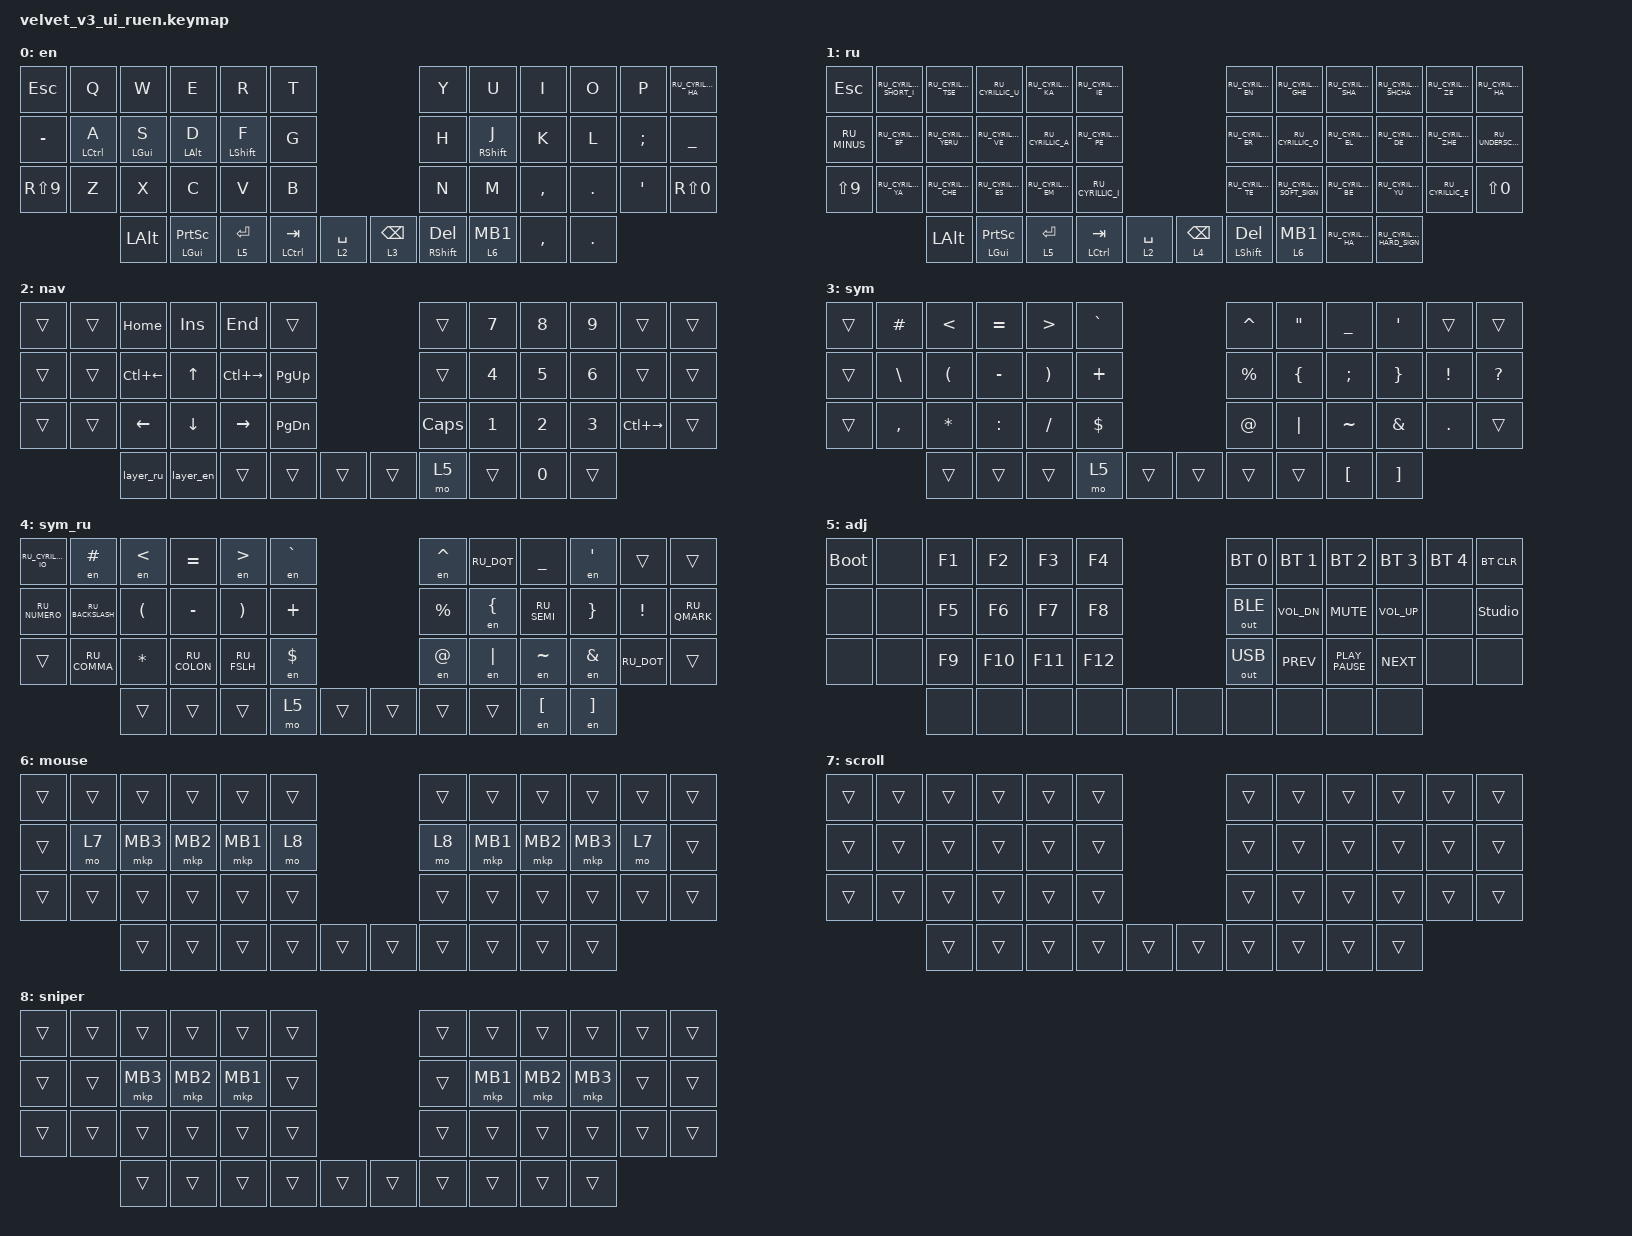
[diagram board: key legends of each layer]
#include "keys_ru.h"
#include <dt-bindings/zmk/input_transform.h>
#include <input/processors.dtsi>
#include <zephyr/dt-bindings/input/input-event-codes.h>
#include <behaviors.dtsi>
#include <dt-bindings/zmk/bt.h>
#include <dt-bindings/zmk/keys.h>
#include <dt-bindings/zmk/outputs.h>
#include <dt-bindings/zmk/pointing.h>

/ {
    behaviors {
        cap_sen: cap_sen {
            compatible = "zmk,behavior-hold-tap";
            label = "CAP_SEN";
            bindings = <&mo>, <&mkp>;

            #binding-cells = <2>;
            tapping-term-ms = <150>;
            hold-while-undecided;
        };
    };

    combos {
        compatible = "zmk,combos";

        cmben {
            bindings = <&layer_en>;
            key-positions = <3 4>;
            layers = <1>;
        };

        cmbru {
            bindings = <&layer_ru>;
            key-positions = <3 4>;
            layers = <0>;
        };
    };

    macros {
        to_ru: to_ru {
            compatible = "zmk,behavior-macro";
            #binding-cells = <0>;
            bindings = <&kp LG(SPACE)>;
            label = "TO_RU";
        };

        to_en: to_en {
            compatible = "zmk,behavior-macro";
            #binding-cells = <0>;
            bindings = <&kp LG(SPACE)>;
            label = "TO_EN";
        };

        layer_en: layer_en {
            compatible = "zmk,behavior-macro";
            #binding-cells = <0>;
            bindings = <&to 0 &to_en>;
            label = "LAYER_EN";
        };

        layer_ru: layer_ru {
            compatible = "zmk,behavior-macro";
            #binding-cells = <0>;
            bindings = <&to 1 &to_ru>;
            label = "LAYER_RU";
        };

        en: en {
            compatible = "zmk,behavior-macro-one-param";
            #binding-cells = <1>;
            bindings =
                <&to_en &macro_param_1to1 &kp MACRO_PLACEHOLDER>,
                <&macro_wait_time 10>,
                <&to_ru>,
                <&macro_wait_time 10>;

            label = "EN";
        };
    };

    keymap {
        compatible = "zmk,keymap";

        en {
            bindings = <
&kp ESC           &kp Q        &kp W           &kp E                     &kp R             &kp T                                          &kp Y                &kp U              &kp I      &kp O    &kp P     &kp RU_CYRILLIC_HA
&kp MINUS         &mt LCTRL A  &mt LEFT_GUI S  &mt LEFT_ALT D            &mt LEFT_SHIFT F  &kp G                                          &kp H                &mt RIGHT_SHIFT J  &kp K      &kp L    &kp SEMI  &kp UNDER
&kp RS(NUMBER_9)  &kp Z        &kp X           &kp C                     &kp V             &kp B                                          &kp N                &kp M              &kp COMMA  &kp DOT  &kp SQT   &kp RS(N0)
                               &kp LALT        &mt LEFT_GUI PRINTSCREEN  &lt 5 ENTER       &mt LCTRL TAB  &lt 2 SPACE    &lt 3 BACKSPACE  &mt RIGHT_SHIFT DEL  &cap_sen 6 MB1     &kp COMMA  &kp DOT
            >;

            display-name = "en";
        };

        ru {
            display-name = "ru";
            bindings = <
&kp ESC       &kp RU_CYRILLIC_SHORT_I  &kp RU_CYRILLIC_TSE   &kp RU_CYRILLIC_U     &kp RU_CYRILLIC_KA  &kp RU_CYRILLIC_IE                                  &kp RU_CYRILLIC_EN     &kp RU_CYRILLIC_GHE        &kp RU_CYRILLIC_SHA  &kp RU_CYRILLIC_SHCHA      &kp RU_CYRILLIC_ZE   &kp RU_CYRILLIC_HA
&kp RU_MINUS  &kp RU_CYRILLIC_EF       &kp RU_CYRILLIC_YERU  &kp RU_CYRILLIC_VE    &kp RU_CYRILLIC_A   &kp RU_CYRILLIC_PE                                  &kp RU_CYRILLIC_ER     &kp RU_CYRILLIC_O          &kp RU_CYRILLIC_EL   &kp RU_CYRILLIC_DE         &kp RU_CYRILLIC_ZHE  &kp RU_UNDERSCORE
&kp LS(N9)    &kp RU_CYRILLIC_YA       &kp RU_CYRILLIC_CHE   &kp RU_CYRILLIC_ES    &kp RU_CYRILLIC_EM  &kp RU_CYRILLIC_I                                   &kp RU_CYRILLIC_TE     &kp RU_CYRILLIC_SOFT_SIGN  &kp RU_CYRILLIC_BE   &kp RU_CYRILLIC_YU         &kp RU_CYRILLIC_E    &kp LS(N0)
                                       &kp LALT              &mt LGUI PRINTSCREEN  &lt 5 ENTER         &mt LCTRL TAB       &lt 2 SPACE    &lt 4 BACKSPACE  &mt LEFT_SHIFT DELETE  &cap_sen 6 MB1             &kp RU_CYRILLIC_HA   &kp RU_CYRILLIC_HARD_SIGN
            >;
        };

        nav {
            bindings = <
&trans  &trans  &kp HOME            &kp INS         &kp END              &trans                           &trans    &kp N7  &kp N8  &kp N9  &trans         &trans
&trans  &trans  &kp LC(LEFT_ARROW)  &kp UP_ARROW    &kp LC(RIGHT_ARROW)  &kp PAGE_UP                      &trans    &kp N4  &kp N5  &kp N6  &trans         &trans
&trans  &trans  &kp LEFT_ARROW      &kp DOWN_ARROW  &kp RIGHT_ARROW      &kp PAGE_DOWN                    &kp CLCK  &kp N1  &kp N2  &kp N3  &kp LC(RIGHT)  &trans
                &layer_ru           &layer_en       &trans               &trans         &trans    &trans  &mo 5     &trans  &kp N0  &trans
            >;

            display-name = "nav";
        };

        sym {
            bindings = <
&trans  &kp HASH   &kp LT    &kp EQUAL  &kp GT    &kp GRAVE                    &kp CARET  &kp DQT   &kp UNDER  &kp SQT   &trans    &trans
&trans  &kp BSLH   &kp LPAR  &kp MINUS  &kp RPAR  &kp PLUS                     &kp PRCNT  &kp LBRC  &kp SEMI   &kp RBRC  &kp EXCL  &kp QUESTION
&trans  &kp COMMA  &kp STAR  &kp COLON  &kp FSLH  &kp DLLR                     &kp AT     &kp PIPE  &kp TILDE  &kp AMPS  &kp DOT   &trans
                   &trans    &trans     &trans    &mo 5      &trans    &trans  &trans     &trans    &kp LBKT   &kp RBKT
            >;

            display-name = "sym";
        };

        sym_ru {
            display-name = "sym_ru";
            bindings = <
&kp RU_CYRILLIC_IO  &en HASH          &en LT    &kp EQUAL     &en GT       &en GRAVE                    &en CARET  &kp RU_DQT  &kp UNDER    &en SQT   &trans      &trans
&kp RU_NUMERO       &kp RU_BACKSLASH  &kp LPAR  &kp MINUS     &kp RPAR     &kp PLUS                     &kp PRCNT  &en LBRC    &kp RU_SEMI  &kp RBRC  &kp EXCL    &kp RU_QMARK
&trans              &kp RU_COMMA      &kp STAR  &kp RU_COLON  &kp RU_FSLH  &en DLLR                     &en AT     &en PIPE    &en TILDE    &en AMPS  &kp RU_DOT  &trans
                                      &trans    &trans        &trans       &mo 5      &trans    &trans  &trans     &trans      &en LBKT     &en RBKT
            >;
        };

        adj {
            bindings = <
&bootloader  &none  &kp F1  &kp F2   &kp F3   &kp F4                   &bt BT_SEL 0  &bt BT_SEL 1  &bt BT_SEL 2      &bt BT_SEL 3  &bt BT_SEL 4  &bt BT_CLR
&none        &none  &kp F5  &kp F6   &kp F7   &kp F8                   &out OUT_BLE  &kp C_VOL_DN  &kp K_MUTE        &kp C_VOL_UP  &none         &studio_unlock
&none        &none  &kp F9  &kp F10  &kp F11  &kp F12                  &out OUT_USB  &kp K_PREV    &kp K_PLAY_PAUSE  &kp K_NEXT    &none         &none
                    &none   &none    &none    &none    &none    &none  &none         &none         &none             &none
            >;

            display-name = "adj";
        };

        mouse {
            bindings = <
&trans  &trans  &trans    &trans    &trans    &trans                    &trans  &trans    &trans    &trans    &trans  &trans
&trans  &mo 7   &mkp MB3  &mkp MB2  &mkp MB1  &mo 8                     &mo 8   &mkp MB1  &mkp MB2  &mkp MB3  &mo 7   &trans
&trans  &trans  &trans    &trans    &trans    &trans                    &trans  &trans    &trans    &trans    &trans  &trans
                &trans    &trans    &trans    &trans  &trans    &trans  &trans  &trans    &trans    &trans
            >;
        };

        scroll {
            bindings = <
&trans  &trans  &trans  &trans  &trans  &trans                    &trans  &trans  &trans  &trans  &trans  &trans
&trans  &trans  &trans  &trans  &trans  &trans                    &trans  &trans  &trans  &trans  &trans  &trans
&trans  &trans  &trans  &trans  &trans  &trans                    &trans  &trans  &trans  &trans  &trans  &trans
                &trans  &trans  &trans  &trans  &trans    &trans  &trans  &trans  &trans  &trans
            >;
        };

        sniper {
            bindings = <
&trans  &trans  &trans    &trans    &trans    &trans                    &trans  &trans    &trans    &trans    &trans  &trans
&trans  &trans  &mkp MB3  &mkp MB2  &mkp MB1  &trans                    &trans  &mkp MB1  &mkp MB2  &mkp MB3  &trans  &trans
&trans  &trans  &trans    &trans    &trans    &trans                    &trans  &trans    &trans    &trans    &trans  &trans
                &trans    &trans    &trans    &trans  &trans    &trans  &trans  &trans    &trans    &trans
            >;
        };
    };
};

&trackball { cpi = <1000>; };

&trackball_listener {
    input-processors = <&zip_xy_scaler 9 20>;

    scroller {
        layers = <7>;
        input-processors =
            <&zip_xy_transform INPUT_TRANSFORM_Y_INVERT>,
            <&zip_xy_scaler 1 32>,
            <&zip_xy_to_scroll_mapper>;
    };

    sniper {
        layers = <8>;
        input-processors = <&zip_xy_scaler 1 4>;
    };
};
